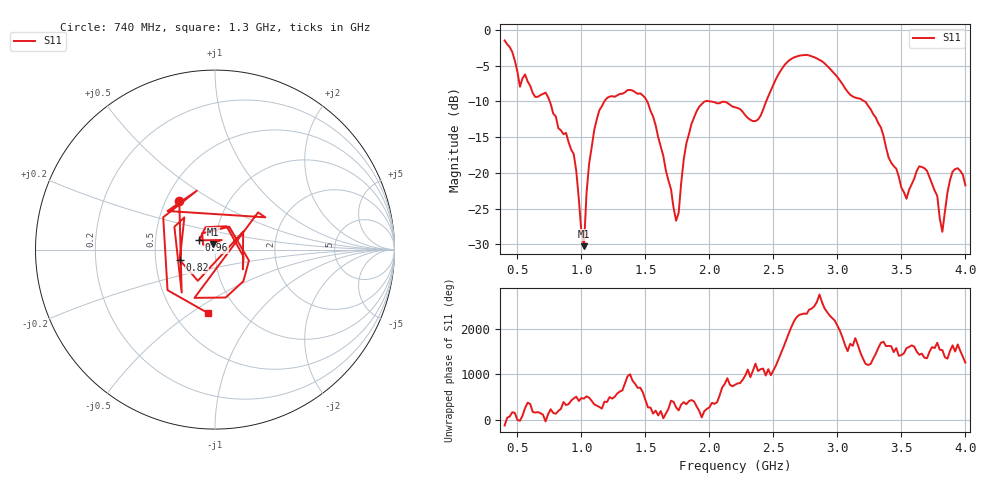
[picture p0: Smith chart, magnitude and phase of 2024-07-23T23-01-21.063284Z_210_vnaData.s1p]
!Created with skrf (http://scikit-rf.org).
# Hz S RI R 50.0
!freq ReS11 ImS11
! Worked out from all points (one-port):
!   181 points, 400 MHz to 4 GHz, reference 50 ohm
!   lowest |S11| = -30.2 dB at 1.02 GHz (marker M1), VSWR 1.06, Z = 49 + j2.87 ohm
!   |S11| at or under -10 dB: 1.513 GHz to 1.969 GHz (456.3 MHz wide, 26.2 % of centre); 1.997 GHz to 2.444 GHz (446.6 MHz wide, 20.1 % of centre); 3.211 GHz to end of sweep (the widest 3 of 4)
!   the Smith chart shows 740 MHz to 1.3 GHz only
!   S11 on the Smith chart (normalised r, x): 740 MHz: 0.59, +0.36; 820 MHz: 0.67, -0.08; 960 MHz: 0.83, +0.09; 1.3 GHz: 0.72, -0.59
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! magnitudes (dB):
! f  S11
! 400 MHz  -1.5
! 520 MHz  -8.0
! 740 MHz  -9.4
! 820 MHz  -13.8
! 860 MHz  -14.6
! 960 MHz  -19.8
! 1.02 GHz  -30.2
! 1.06 GHz  -18.8
! 1.1 GHz  -14.0
! 1.3 GHz  -9.0
! 1.52 GHz  -10.2
! 1.74 GHz  -26.7
! 1.76 GHz  -25.6
! 1.82 GHz  -15.9
! 1.9 GHz  -11.4
! 2.2 GHz  -10.8
! 2.38 GHz  -12.5
! 2.66 GHz  -3.9
! 2.88 GHz  -4.4
! 3.1 GHz  -9.1
! 3.3 GHz  -12.3
! 3.5 GHz  -22.1
! 3.56 GHz  -22.4
! 3.7 GHz  -19.7
! 3.78 GHz  -23.2
! 3.82 GHz  -28.2
! 3.9 GHz  -19.8
! 4 GHz  -21.8
